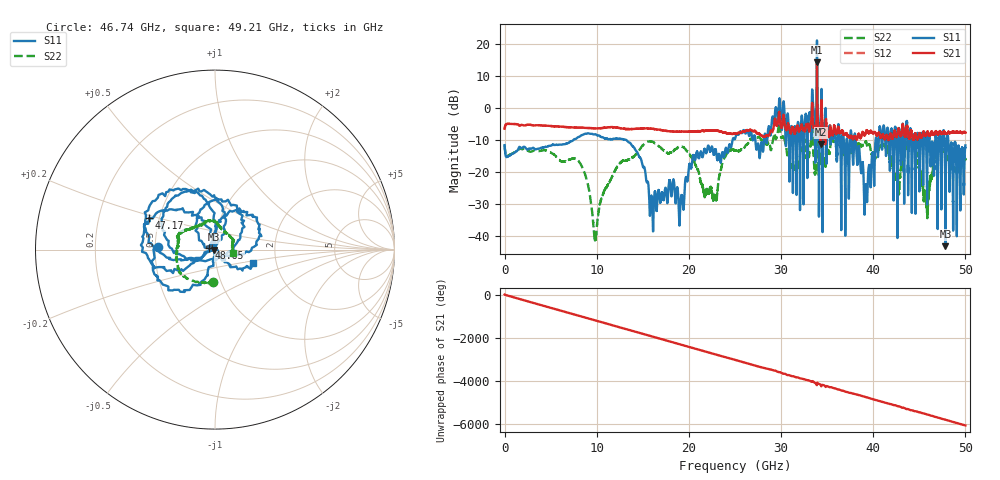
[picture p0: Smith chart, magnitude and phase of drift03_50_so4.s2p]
!Created with skrf (http://scikit-rf.org).
# Hz S RI R 50.0
!freq ReS11 ImS11 ReS21 ImS21 ReS12 ImS12 ReS22 ImS22
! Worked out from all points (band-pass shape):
!   10001 points, 300 kHz to 50 GHz, reference 50 ohm
!   highest |S21| = 14.23 dB at 33.9 GHz (marker M1); lowest = -11.4 dB at 34.32 GHz (marker M2)
!   |S21| within 3 dB of the highest: 33.89103 GHz to 33.90321 GHz (12.18 MHz wide, 0.0359 % of centre)
!   lowest |S11| = -43.2 dB at 47.84 GHz (marker M3), VSWR 1.01, Z = 49.3 - j0.123 ohm
!   |S11| at or under -10 dB: start of sweep to 7.488 GHz; 13.13 GHz to 24.74 GHz (11.61 GHz wide, 61.3 % of centre); 38.09 GHz to 40.25 GHz (2.162 GHz wide, 5.52 % of centre) (the widest 3 of 50)
!   |S22| runs from -41.5 to 6.7 dB; largest |S21 - S12| = 0.38
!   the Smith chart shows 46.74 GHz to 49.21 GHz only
!   S11 on the Smith chart (normalised r, x): 46.74 GHz: 0.52, +0.02; 47.17 GHz: 0.44, +0.18; 48.65 GHz: 0.94, +0.01; 49.21 GHz: 1.52, -0.25
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300000  -0.2308 -0.1206  0.4629 0.0779  0.4618 0.0788  -0.2305 -0.1204
1.440291e9  0.2099 0.0645  -0.5477 -0.0296  -0.5481 -0.0291  0.2112 -0.00415
2.915283e9  -0.2118 -0.0881  0.5339 0.0519  0.5341 0.0518  -0.2021 0.0402
4.415274e9  0.2059 0.1322  -0.5222 -0.0422  -0.522 -0.0424  0.1987 -0.0872
8.33525e9  0.2891 -0.233  0.1458 0.4662  0.1458 0.4664  -0.0727 -0.1014
9.845241e9  -0.3637 0.1287  -0.1476 -0.4528  -0.1482 -0.4526  0.00865 0.00226
1.66702e10  0.0269 0.0437  -0.3791 0.2525  -0.3795 0.2526  -0.1274 -0.2201
2.500015e10  -0.3257 -0.0161  -0.2549 -0.2983  -0.2528 -0.2994  -0.2127 0.026
2.895513e10  -0.3257 0.4297  -0.2896 0.3239  -0.2994 0.289  0.0653 0.2206
3.006512e10  0.3992 0.2678  0.4518 -0.195  0.4558 -0.1798  0.1764 -0.296
3.171011e10  -0.089 0.1892  -0.3613 0.3521  -0.3621 0.3528  0.0648 0.1582
3.33351e10  0.6299 -0.7871  0.2662 -0.836  0.2603 -0.8177  -0.1853 -0.421
3.38951e10  -3.253 -10.74  -5.02 1.124  -4.722 1.361  0.6596 2.057
3.432009e10  -0.7791 0.000813  -0.181 0.1973  -0.2432 0.177  0.1443 -0.0711
3.919006e10  0.0605 0.0135  0.2078 -0.3543  0.2161 -0.3498  -0.2713 -0.1275
4.167005e10  -0.1979 0.3022  0.3152 0.00741  0.317 0.0129  -0.1984 -0.00613
4.674002e10  -0.3169 0.0135  -0.0971 0.3973  -0.1044 0.3975  -0.0102 -0.1798
4.717002e10  -0.3685 0.1748  0.2602 0.3245  0.2617 0.3212  -0.1952 -0.1308
4.784001e10  -0.00679 -0.00124  0.3568 -0.1678  0.3594 -0.167  -0.17 0.1104
4.865001e10  -0.0328 0.0076  -0.2453 -0.3435  -0.2421 -0.3447  0.0754 0.0833
4.9205e10  0.2131 -0.0771  -0.4016 0.0996  -0.3948 0.0865  0.0986 -0.0176
5e10  -0.1179 -0.2296  0.1392 0.3842  0.1394 0.3857  -0.0544 -0.1452
